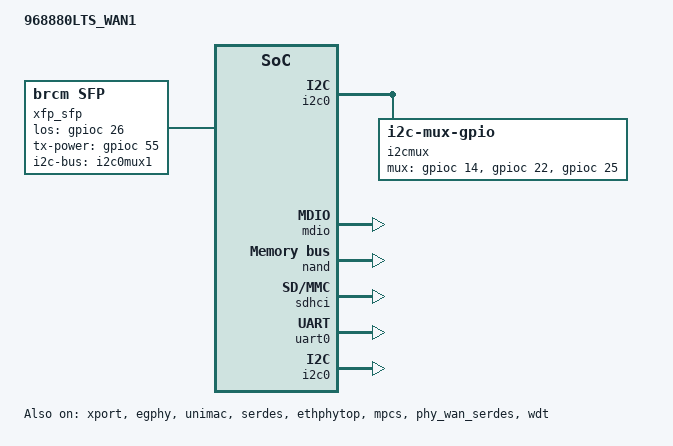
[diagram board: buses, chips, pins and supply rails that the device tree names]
#include "inc/68880.dtsi"

/ {
    model = "968880LTS_WAN1";
};

/ {
        memory_controller {
                memcfg = <(BP1_DDR_MCBSEL_FORMAT_VER1   | \
                           BP1_DDR_TYPE_LPDDR4         | \
                           BP1_DDR_SPEED_2133_36_39_39 | \
                           BP1_DDR_WIDTH_32BIT         | \
                           BP1_DDR_TOTAL_SIZE_16Gb      | \
                           BP1_DDR_SSC_CONFIG_1        | \
                           BP1_DDR_CONFIG_DEBUG)>;
        };
};

&xport {
    status = "okay";
};

&egphy {
    status = "okay";
};

&unimac {
    status = "okay";
};

&serdes {
    status = "okay";
};

&ethphytop {
    xphy0-enabled;
    status = "okay";
};

&mpcs {
    status = "okay";
};

&mdio {
    status = "okay";
};

&mdio_bus {
    egphy0 {
        status = "okay";
    };
    xphy0 {
        status = "okay";
    };
    serdes00 {
        pinctrl-names = "default";
        pinctrl-0 = <&a_slan_sd_rx_los_pin_3 &a_slan_sd_mod_abs_pin_4>;
        tx-disable = <&gpioc 6 GPIO_ACTIVE_HIGH>;
        10000-Base-R;
        5000-Base-R;
        2500-Base-X;
        1000-Base-X;
        status = "okay";
    };
    wan_ae {
        trx = <&xfp_sfp>;
        status = "okay";
    };
};

&switch0 {
    pinctrl-names = "default";
    pinctrl-0 = <&a_eth_mdc_pin_59 &a_eth_mdio_pin_60>;

    ports {
        port_gphy0 {
            status = "okay";
        };
        port_xgphy0 {
            status = "okay";
        };
        port_wan@ae {
            status = "okay";
        };
        port_slan0 {
            status = "okay";
        };
        port_wan@fiber {
            status = "okay";
        };
    };
};

/ {
    xfp_sfp: xfp_sfp {
        pinctrl-names = "default", "tx-sd";
        pinctrl-0 = <&pon_lbe_p_pin_30>;
        pinctrl-1 = <&pon_lbe_p_pin_30 &rogue_onu_in_pin_27>;
        compatible = "brcm,sfp";
        i2c-bus = <&i2c0mux1>;
        los-gpio = <&gpioc 26 GPIO_ACTIVE_HIGH>;
        mod-def0 = <&bca_extintr 76 GPIO_ACTIVE_LOW (BCA_EXTINTR_TYPE_BOTH_EDGE | BCA_EXTINTR_TYPE_SENSE_EDGE)>;
        tx-power-gpio = <&gpioc 55 GPIO_ACTIVE_HIGH>;
    };

    wan_serdes {
        status = "okay";
        trx = <&xfp_sfp>;
    };

    i2cmux:i2cmux {
        compatible = "i2c-mux-gpio";
        #address-cells = <1>;
        #size-cells = <0>;
        mux-gpios = <&gpioc 14 GPIO_ACTIVE_HIGH &gpioc 22 GPIO_ACTIVE_HIGH &gpioc 25 GPIO_ACTIVE_HIGH>;
        i2c-parent = <&i2c0>;

        i2c0mux1: i2c@1 {
            reg = <0>;
            #address-cells = <1>;
            #size-cells = <0>;
        };

        i2c0mux2: i2c@2 {
            reg = <5>;
            #address-cells = <1>;
            #size-cells = <0>;
        };
    };
	
    tod {
        compatible = "brcm,tod";
        pinctrl-names = "default";
        pinctrl-0 = <&b_wan_nco_1pps_sig_pin_10 &b_wan_nco_8k_clk_pin_9>;
    };  
};

&phy_wan_serdes {
    status = "okay";
};

#ifndef CONFIG_BRCM_SMC_BOOT
&nand {
	status = "okay";
};

&sdhci {
    status = "okay";
};
#endif

&wdt {
	status = "okay";
};

&uart0 {
	status = "okay";
};

&i2c0 {
	pinctrl-0 = <&i2c_scl_pin_28 &i2c_sda_pin_29>;
	pinctrl-names = "default";
	status = "okay";
};
